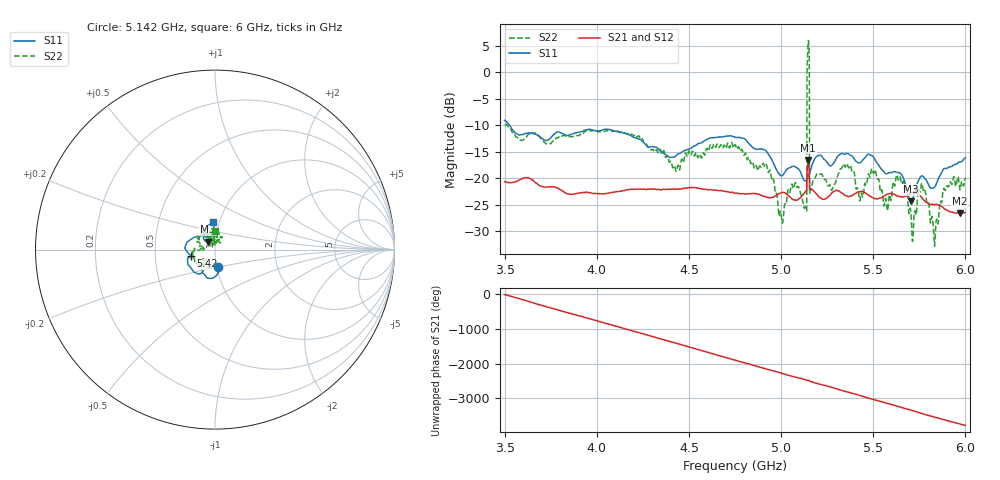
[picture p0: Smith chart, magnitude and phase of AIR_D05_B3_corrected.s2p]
! Created with skrf 1.9.0 (http://scikit-rf.org).
# Hz S RI R 50.0
!freq ReS11 ImS11 ReS21 ImS21 ReS12 ImS12 ReS22 ImS22
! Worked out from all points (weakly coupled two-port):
!   1601 points, 3.5 GHz to 6 GHz, reference 50 ohm
!   highest |S21| = -16.59 dB at 5.147 GHz (marker M1); lowest = -26.7 dB at 5.97 GHz (marker M2)
!   lowest |S11| = -24.4 dB at 5.705 GHz (marker M3), VSWR 1.13, Z = 45.9 + j4.11 ohm
!   |S11| at or under -10 dB: 3.526 GHz to end of sweep
!   |S22| runs from -32.9 to 6.0 dB; largest |S21 - S12| = 0.0014
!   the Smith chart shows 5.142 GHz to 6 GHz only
!   S11 on the Smith chart (normalised r, x): 5.142 GHz: 1.02, -0.20; 5.42 GHz: 0.76, -0.06; 6 GHz: 0.93, +0.29
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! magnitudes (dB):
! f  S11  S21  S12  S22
! 3.5 GHz  -9.1  -20.7  -20.7  -10.0
! 3.917 GHz  -11.2  -22.8  -22.8  -11.5
! 4.334 GHz  -14.5  -22.1  -22.1  -15.2
! 4.75 GHz  -12.3  -22.9  -22.8  -13.6
! 4.93 GHz  -15.4  -23.7  -23.7  -18.8
! 5.002 GHz  -19.6  -22.8  -22.8  -27.2
! 5.069 GHz  -17.8  -24.1  -24.1  -21.8
! 5.127 GHz  -20.4  -22.8  -22.9  -25.7
! 5.142 GHz  -20.1  -18.4  -18.4  1.5
! 5.147 GHz  -19.8  -16.6  -16.6  5.7
! 5.153 GHz  -19.2  -18.7  -18.7  3.3
! 5.167 GHz  -17.6  -22.2  -22.2  -21.4
! 5.348 GHz  -15.4  -23.3  -23.3  -17.9
! 5.42 GHz  -17.1  -22.6  -22.6  -22.7
! 5.502 GHz  -16.0  -23.8  -23.8  -19.1
! 5.584 GHz  -19.0  -23.0  -23.0  -23.9
! 5.638 GHz  -18.9  -23.4  -23.4  -20.4
! 5.705 GHz  -24.4  -22.9  -22.9  -26.8
! 5.77 GHz  -19.7  -24.0  -24.0  -22.2
! 5.839 GHz  -21.4  -25.0  -25.0  -29.3
! 5.97 GHz  -16.9  -26.7  -26.6  -22.2
! 6 GHz  -16.2  -26.5  -26.5  -19.9
